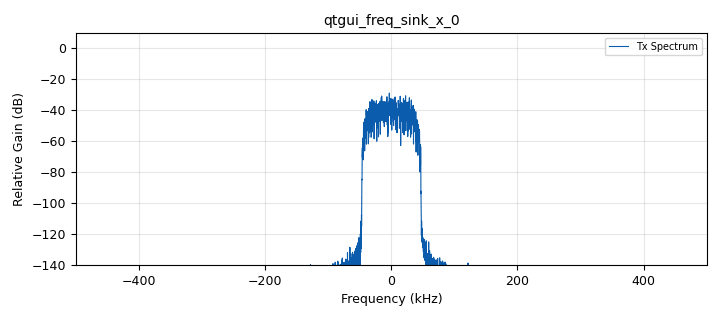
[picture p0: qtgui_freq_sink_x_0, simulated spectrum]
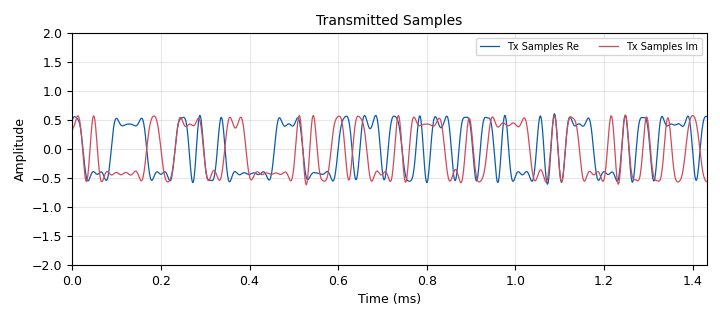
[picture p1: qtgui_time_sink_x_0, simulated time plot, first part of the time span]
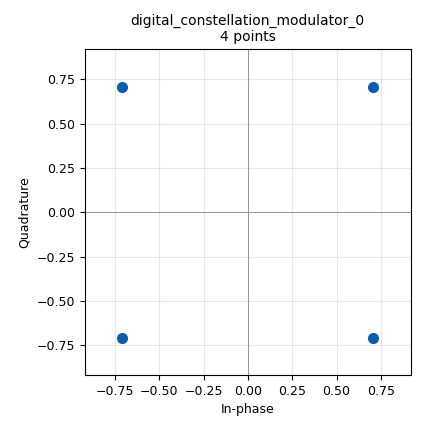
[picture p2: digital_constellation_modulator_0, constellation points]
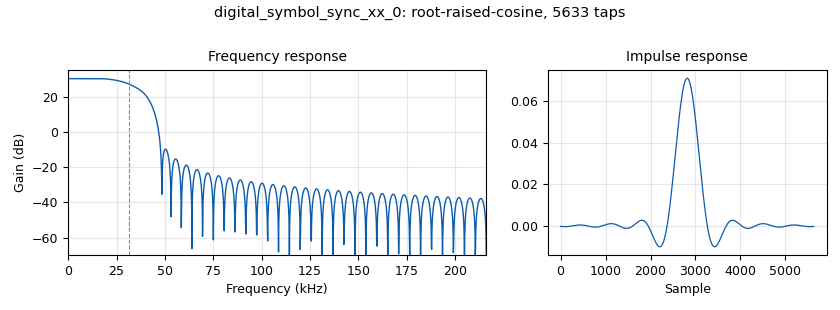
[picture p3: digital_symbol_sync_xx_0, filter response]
options:
  parameters:
    generate_options: qt_gui
    id: costas_loop_loopback_pluto
    output_language: python
    title: costas_loop_loopback_pluto
  states: {}

blocks:
- name: alpha
  id: variable
  parameters:
    value: '0.5'
  states: {}
- name: buff_size
  id: variable
  parameters:
    value: int(32768)
  states: {}
- name: constellation
  id: variable_constellation
  parameters:
    const_points: '[-1-1j, -1+1j, 1+1j, 1-1j]'
    dims: '1'
    normalization: digital.constellation.AMPLITUDE_NORMALIZATION
    precision: '8'
    rot_sym: '4'
    sym_map: '[0, 1, 2, 3]'
    type: calcdist
  states: {}
- name: costas_loop_bw
  id: variable_qtgui_range
  parameters:
    gui_hint: (4,0,1,2)
    label: Costas Loop Bw [cycles/sample]
    start: '0.001'
    step: '0.001'
    stop: '0.2'
    value: '0.02'
  states: {}
- name: interval_update
  id: variable
  parameters:
    value: int(0)
  states: {}
- name: lo_freq
  id: variable
  parameters:
    value: '2200000000'
  states: {}
- name: nfilts
  id: variable
  parameters:
    value: '32'
  states: {}
- name: offset_rx
  id: variable_qtgui_range
  parameters:
    gui_hint: (1,0,1,2)
    start: '-300000'
    step: '1'
    stop: '250000'
    value: '-100000'
  states: {}
- name: offset_tx
  id: variable
  parameters:
    value: '100000'
  states: {}
- name: phase_shift_after_costas_loop
  id: variable_qtgui_range
  parameters:
    gui_hint: (5,0,1,2)
    label: Ph Shift (after CL) [rad]
    start: '0'
    step: '0.1'
    stop: 2*math.pi
    value: '0'
  states: {}
- name: pluto_ip
  id: variable_config
  parameters:
    config_file: default
    option: key
    section: main
    type: string
    value: ip:192.168.2.1
    writeback: None
  states: {}
- name: rrc_taps
  id: variable_rrc_filter_taps
  parameters:
    alpha: alpha
    gain: nfilts
    ntaps: 11*sps*nfilts
    samp_rate: nfilts*samp_rate
    sym_rate: samp_rate/sps
  states: {}
- name: rx_gain
  id: variable_qtgui_range
  parameters:
    gui_hint: (8,1,1,1)
    label: Rx Gain
    start: '0'
    step: '1'
    stop: '60'
    value: '10'
  states: {}
- name: samp_rate
  id: variable
  parameters:
    value: '1000000'
  states: {}
- name: sps
  id: variable
  parameters:
    value: '16'
  states: {}
- name: tx_attenuation
  id: variable_qtgui_range
  parameters:
    gui_hint: (8,0,1,1)
    label: Tx Attenuation
    start: '0'
    step: '1'
    stop: '89'
    value: '15'
  states: {}
- name: analog_agc_xx_0
  id: analog_agc_xx
  parameters:
    gain: '1.0'
    max_gain: '65536'
    rate: '1e-4'
    reference: '1.0'
    type: complex
  states: {}
- name: analog_random_uniform_source_x_0
  id: analog_random_uniform_source_x
  parameters:
    maximum: '4'
    minimum: '0'
    seed: '0'
    type: byte
  states: {}
- name: analog_sig_source_x_0_0
  id: analog_sig_source_x
  parameters:
    amp: '1'
    freq: offset_tx
    offset: '0'
    phase: '0'
    samp_rate: samp_rate
    type: complex
    waveform: analog.GR_COS_WAVE
  states: {}
- name: analog_sig_source_x_0_0_0
  id: analog_sig_source_x
  parameters:
    amp: '1'
    freq: offset_rx
    offset: '0'
    phase: '0'
    samp_rate: samp_rate
    type: complex
    waveform: analog.GR_COS_WAVE
  states: {}
- name: blocks_multiply_const_vxx_0
  id: blocks_multiply_const_vxx
  parameters:
    const: '0.6'
    type: complex
  states: {}
- name: blocks_multiply_xx_0_0
  id: blocks_multiply_xx
  parameters:
    type: complex
  states: {}
- name: blocks_multiply_xx_0_0_0
  id: blocks_multiply_xx
  parameters:
    type: complex
  states: {}
- name: blocks_phase_shift_0
  id: blocks_phase_shift
  parameters:
    is_radians: 'True'
    shift: phase_shift_after_costas_loop
  states: {}
- name: blocks_skiphead_0
  id: blocks_skiphead
  parameters:
    comment: |-
      Skip one second of samples
      to allow AGC and FLL to lock
    num_items: int(samp_rate)
    type: complex
  states: {}
- name: blocks_unpacked_to_packed_xx_0
  id: blocks_unpacked_to_packed_xx
  parameters:
    bits_per_chunk: '2'
    endianness: gr.GR_MSB_FIRST
    type: byte
  states: {}
- name: blocks_vector_source_x_0
  id: blocks_vector_source_x
  parameters:
    repeat: 'True'
    type: byte
    vector: (2,2,3,1,3,1,0,2,0)
  states: {state: disabled}
- name: digital_constellation_modulator_0
  id: digital_constellation_modulator
  parameters:
    constellation: constellation
    differential: 'True'
    excess_bw: alpha
    samples_per_symbol: sps
  states: {}
- name: digital_costas_loop_cc_0
  id: digital_costas_loop_cc
  parameters:
    order: constellation.arity()
    w: 2*math.pi*costas_loop_bw
  states: {}
- name: digital_fll_band_edge_cc_0
  id: digital_fll_band_edge_cc
  parameters:
    filter_size: sps*2+1
    rolloff: alpha
    samps_per_sym: sps
    type: cc
    w: 2*math.pi/sps/100
  states: {}
- name: digital_symbol_sync_xx_0
  id: digital_symbol_sync_xx
  parameters:
    damping: '1.0'
    loop_bw: '0.045'
    max_dev: '1'
    nfilters: nfilts
    osps: '1'
    pfb_mf_taps: rrc_taps
    resamp_type: digital.IR_PFB_MF
    sps: sps
    ted_gain: '1.0'
    ted_type: digital.TED_SIGNAL_TIMES_SLOPE_ML
    type: cc
  states: {}
- name: iio_pluto_sink_0
  id: iio_pluto_sink
  parameters:
    attenuation1: tx_attenuation
    bandwidth: samp_rate*5
    buffer_size: buff_size
    cyclic: 'False'
    filter_source: '''Auto'''
    frequency: lo_freq
    samplerate: samp_rate
    type: fc32
    uri: pluto_ip
  states: {}
- name: iio_pluto_source_0
  id: iio_pluto_source
  parameters:
    bandwidth: samp_rate*5
    bbdc: 'True'
    buffer_size: buff_size
    filter_source: '''Auto'''
    frequency: lo_freq
    gain1: '''manual'''
    manual_gain1: rx_gain
    quadrature: 'True'
    rfdc: 'True'
    samplerate: samp_rate
    type: fc32
    uri: pluto_ip
  states: {}
- name: import_0
  id: import
  parameters:
    imports: import math
  states: {}
- name: qtgui_const_sink_x_0_0
  id: qtgui_const_sink_x
  parameters:
    grid: 'True'
    gui_hint: (3,0,1,1)
    label1: Rx Constellation before CL
    label2: Rx Constellation after CL
    name: Received Constellation
    nconnections: '2'
    size: int(1024)
    tr_level: '0.3'
    type: complex
  states: {}
- name: qtgui_eye_sink_x_0_0
  id: qtgui_eye_sink_x
  parameters:
    grid: 'True'
    gui_hint: (3,1,1,1)
    label1: Rx Re (After Costas Loop)
    label2: Rx Im (After Costas Loop)
    samp_per_symbol: '1'
    size: '100'
    srate: samp_rate
    type: complex
    ymax: '2'
    ymin: '-2'
  states: {}
- name: qtgui_freq_sink_x_0
  id: qtgui_freq_sink_x
  parameters:
    bw: samp_rate
    fc: '0'
    fftsize: '8192'
    grid: 'True'
    gui_hint: (0,1,1,1)
    label1: Tx Spectrum
    tr_level: '-40'
    tr_mode: qtgui.TRIG_MODE_NORM
    type: complex
    update_time: '1'
  states: {}
- name: qtgui_freq_sink_x_0_0_0
  id: qtgui_freq_sink_x
  parameters:
    bw: samp_rate
    fc: '0'
    fftsize: '8192'
    grid: 'True'
    gui_hint: (2,1,1,1)
    label1: Rx Spectrum
    label2: Rx Spectrum + Freq Offset
    label3: Rx Spectrum + Freq Offset + FLL
    name: '"Received spectrum"'
    nconnections: '3'
    tr_level: '-60'
    tr_mode: qtgui.TRIG_MODE_NORM
    type: complex
  states: {}
- name: qtgui_time_sink_x_0
  id: qtgui_time_sink_x
  parameters:
    grid: 'True'
    gui_hint: (0,0,1,1)
    label1: Tx Samples Re
    label2: Tx Samples Im
    name: Transmitted Samples
    size: 1024*3
    srate: samp_rate
    tr_level: '0.5'
    tr_mode: qtgui.TRIG_MODE_NORM
    type: complex
    ymax: '2'
    ymin: '-2'
  states: {}
- name: qtgui_time_sink_x_1
  id: qtgui_time_sink_x
  parameters:
    color1: red
    color2: blue
    gui_hint: (6,0,1,2)
    label1: CL Estimated Frequency Correction [rad/sample]
    label2: CL Error signal
    name: CL Error Signal and Frequency Correction signal
    nconnections: '2'
    size: '1024'
    srate: samp_rate
    type: float
    ymax: '0.1'
    ymin: '-0.1'
  states: {}
- name: qtgui_time_sink_x_1_0
  id: qtgui_time_sink_x
  parameters:
    grid: 'True'
    gui_hint: (2,0,1,1)
    label1: Rx Re
    label2: Rx Im
    name: '"Received Samples (After Costas Loop)"'
    size: '200'
    srate: samp_rate
    tr_level: '0.1'
    type: complex
    ymax: '2'
    ymin: '-2'
  states: {}
- name: qtgui_time_sink_x_2
  id: qtgui_time_sink_x
  parameters:
    gui_hint: (7,0,1,2)
    label1: CL Estimated Phase Error
    name: CL Phase Correction Signal [rad]
    size: 1024*10
    srate: samp_rate
    type: float
    ymax: '10'
    ymin: '-10'
  states: {}

connections:
- [analog_agc_xx_0, '0', digital_fll_band_edge_cc_0, '0']
- [analog_agc_xx_0, '0', qtgui_freq_sink_x_0_0_0, '1']
- [analog_random_uniform_source_x_0, '0', blocks_unpacked_to_packed_xx_0, '0']
- [analog_sig_source_x_0_0, '0', blocks_multiply_xx_0_0, '1']
- [analog_sig_source_x_0_0_0, '0', blocks_multiply_xx_0_0_0, '1']
- [blocks_multiply_const_vxx_0, '0', blocks_multiply_xx_0_0, '0']
- [blocks_multiply_const_vxx_0, '0', qtgui_freq_sink_x_0, '0']
- [blocks_multiply_const_vxx_0, '0', qtgui_time_sink_x_0, '0']
- [blocks_multiply_xx_0_0, '0', iio_pluto_sink_0, '0']
- [blocks_multiply_xx_0_0_0, '0', analog_agc_xx_0, '0']
- [blocks_phase_shift_0, '0', qtgui_const_sink_x_0_0, '1']
- [blocks_skiphead_0, '0', digital_symbol_sync_xx_0, '0']
- [blocks_unpacked_to_packed_xx_0, '0', digital_constellation_modulator_0, '0']
- [blocks_vector_source_x_0, '0', blocks_unpacked_to_packed_xx_0, '0']
- [digital_constellation_modulator_0, '0', blocks_multiply_const_vxx_0, '0']
- [digital_costas_loop_cc_0, '0', blocks_phase_shift_0, '0']
- [digital_costas_loop_cc_0, '0', qtgui_eye_sink_x_0_0, '0']
- [digital_costas_loop_cc_0, '0', qtgui_time_sink_x_1_0, '0']
- [digital_costas_loop_cc_0, '1', qtgui_time_sink_x_1, '0']
- [digital_costas_loop_cc_0, '2', qtgui_time_sink_x_2, '0']
- [digital_costas_loop_cc_0, '3', qtgui_time_sink_x_1, '1']
- [digital_fll_band_edge_cc_0, '0', blocks_skiphead_0, '0']
- [digital_fll_band_edge_cc_0, '0', qtgui_freq_sink_x_0_0_0, '2']
- [digital_symbol_sync_xx_0, '0', digital_costas_loop_cc_0, '0']
- [digital_symbol_sync_xx_0, '0', qtgui_const_sink_x_0_0, '0']
- [iio_pluto_source_0, '0', blocks_multiply_xx_0_0_0, '0']
- [iio_pluto_source_0, '0', qtgui_freq_sink_x_0_0_0, '0']

metadata:
  file_format: 1
  grc_version: 3.10.11.0
